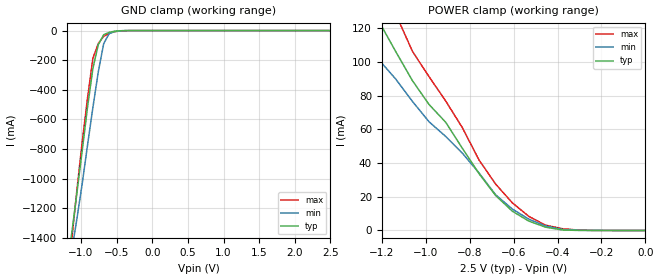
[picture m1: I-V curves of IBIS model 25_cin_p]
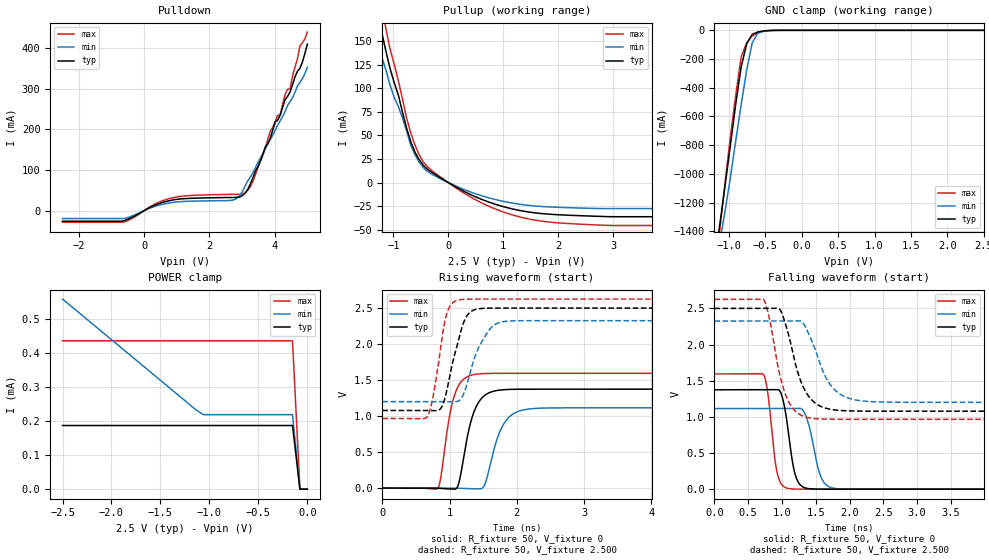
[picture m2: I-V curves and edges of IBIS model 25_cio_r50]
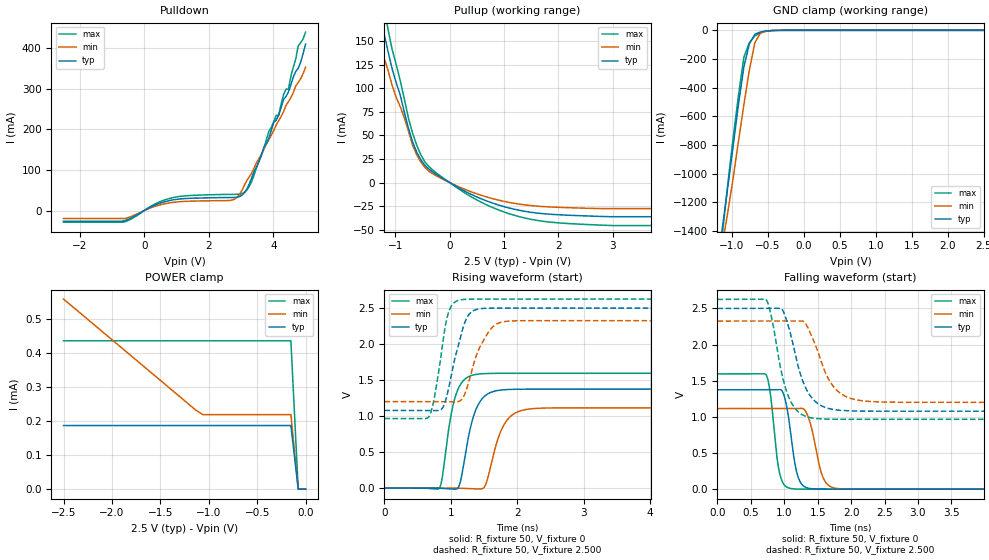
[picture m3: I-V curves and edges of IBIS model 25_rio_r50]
[IBIS Ver]   4.2
[File Name]  frequency_counter_assembly.ibs
[File Rev]   3.0
[Date]   June 15, 2025
[Source]   Altera Corporation
[Notes]   - The models are designated as "Final" and have been correlated against physical device operation.
   - This IBIS model is checked using IBISCHK v5.0.4
   There are no known errors and warnings reported.
   - There are no known limitations for this IBIS model release.
   - Contact point: Altera Corporation, http://www.altera.com/corporate/contact/con-index.html
   - This file is generated using Quartus II Version 24.1std.0 Build 1077 03/04/2025 SC Lite Edition
   - Unused IOs which have been assigned as tri-stated inputs or as outputs driving any signal in Quartus II
   arerepresented by the NC.
   - Only general purpose IBIS models are supported.
   Revision History
   - v1.0
   - Initial release of MAX 10 IBIS models. Models are based on pre-layout and early engineering info.
   - v2.0
   - Models are based on post-layout, may be missing certain features.
   - v3.0
   - Models have undergone final correlation against physical device operation.
[Disclaimer] Data is for modeling purposes only and is not guaranteed.
[Copyright]  Copyright (C) 2025  Altera Corporation. All rights reserved.
[Component]  10M50DAF484C7G_frequency_counter_assembl
[Manufacturer] Altera Corporation
[Package]
| RLC values are for 484 FBGA package
| variable  typ   min   max
R_pkg   551m   176m   873m
L_pkg   4.76nH   1.81nH   7.56nH
C_pkg   1.01pF   0.60pF   1.56pF
[Pin] signal_name   model_name   R_pin   L_pin   C_pin
A1   GND   GND
A10   led_port[2]   25_cio_r50   618.8m   5.890nH   1.083pF
A11   led_port[8]   25_cio_r50   572.3m   5.833nH   1.012pF
A16   status_led[1]   25_cio_r50   551.5m   4.756nH   1.106pF
A19   blinker   25_cio_r50   797.4m   6.594nH   1.419pF
A22   GND   GND
A8   led_port[0]   25_cio_r50   739.8m   7.540nH   1.314pF
A9   led_port[1]   25_cio_r50   635.8m   6.193nH   1.167pF
AA18  GND   GND
AA4   GND   GND
AB1   GND   GND
AB22  GND   GND
AB6   uart_tx_ext   25_cio_r50   667.4m   6.499nH   1.395pF
AB7   measure_signal_i   25_cin_p   615.8m   5.871nH   1.273pF
B10   led_port[3]   25_cio_r50   432.0m   3.866nH   0.928pF
B11   led_port[9]   25_cio_r50   432.2m   4.170nH   0.927pF
B13   GND   GND
B18   GND   GND
B6   GND   GND
B8   rst_ext_unbuffered   25_cin_p   653.9m   5.581nH   1.235pF
B9   GND   GND
C13   led_port[5]   25_cio_r50   376.7m   3.306nH   0.800pF
D11   GND   GND
D13   led_port[4]   25_cio_r50   314.2m   2.794nH   0.627pF
D14   led_port[7]   25_cio_r50   281.2m   2.837nH   0.717pF
D15   status_led[0]   25_cio_r50   274.0m   2.723nH   0.721pF
D16   GND   GND
D20   GND   GND
D22   blinker_2   25_rio_r50   873.7m   7.558nH   1.558pF
D4   GND   GND
E14   led_port[6]   25_cio_r50   236.6m   2.129nH   0.596pF
E2   GND   GND
E7   GND   GND
F10   GND   GND
F11   VCCIO8   POWER
F12   VCCIO7   POWER
F13   GND   GND
F14   VCCIO7   POWER
F9   VCCIO8   POWER
G10   VCCIO8   POWER
G11   VCCIO8   POWER
G12   VCCIO7   POWER
G13   VCCIO7   POWER
G14   VCCIO7   POWER
G15   GND   GND
G16   VCCD_PLL2   POWER
G18   GND   GND
G21   GND   GND
G6   GND   GND
G7   VCCD_PLL3   POWER
G8   GND   GND
H15   VCCA2   POWER
H16   VCCIO6   POWER
H7   VCCA_ADC   POWER
H8   VCCA3   POWER
J16   GND   GND
J17   VCCIO6   POWER
J19   GND   GND
J2   GND   GND
J6   GND   GND
J7   VCCINT   POWER
K10   GND   GND
K11   VCC   POWER
K12   GND   GND
K13   VCC   POWER
K16   VCCIO6   POWER
K17   VCCIO6   POWER
K3   GND   GND
K7   VCCIO1A   POWER
L10   VCC   POWER
L11   VCC   POWER
L12   VCC   POWER
L13   GND   GND
L16   VCCIO6   POWER
L17   GND   GND
L19   blinker_3   25_rio_r50   459.9m   3.942nH   0.878pF
L21   GND   GND
L5   GND   GND
L6   VCCIO1A   POWER
L7   VCCIO1B   POWER
M10   GND   GND
M11   VCC   POWER
M12   VCC   POWER
M13   VCC   POWER
M16   GND   GND
M17   VCCIO6   POWER
M19   GND   GND
M6   VCCIO1B   POWER
M7   GND   GND
N10   VCC   POWER
N11   GND   GND
N12   VCC   POWER
N13   GND   GND
N16   VCCIO5   POWER
N17   VCCIO6   POWER
N6   VCCIO2   POWER
N7   VCCIO2   POWER
P11   clk_i_ext   25_cin_p   176.5m   1.812nH   0.651pF
P16   VCCIO5   POWER
P17   GND   GND
P2   GND   GND
P6   GND   GND
P7   VCCIO2   POWER
R16   VCCIO5   POWER
R17   VCCIO5   POWER
R19   GND   GND
R21   GND   GND
R6   VCCIO2   POWER
R8   VCCA1   POWER
T10   VCCIO3   POWER
T11   VCCIO3   POWER
T12   VCCIO4   POWER
T13   VCCIO4   POWER
T14   GND   GND
T15   VCCA4   POWER
T16   GND   GND
T17   VCCIO5   POWER
T4   GND   GND
T7   VCCD_PLL1   POWER
T8   GND   GND
T9   VCCIO3   POWER
U10   GND   GND
U11   VCCIO4   POWER
U12   VCCIO4   POWER
U13   GND   GND
U14   VCCIO4   POWER
U16   VCCD_PLL4   POWER
U8   VCCIO3   POWER
U9   VCCIO3   POWER
V19   GND   GND
V2   GND   GND
V6   GND   GND
W21   GND   GND
Y12   GND   GND
Y15   GND   GND
Y9   GND   GND
| Models and submodels in the file (3): 25_cin_p (Input), 25_cio_r50 (I/O), 25_rio_r50 (I/O)
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|MODEL 25_cin_p
[Model]   25_cin_p
Model_type   Input
Polarity   Non-Inverting
Vinl   = 0.700
Vinh   = 1.700
C_comp 4.5pF   4.5pF   4.5pF
[Model Spec]
Vinh   1.700   1.700   1.700
Vinl   0.700   0.700   0.700
[Temperature Range]   25   85   0
[Voltage Range]   2.500   2.325   2.625
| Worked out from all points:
|   GND clamp passes 1 mA (typ) near -0.44 V on its own axis
|   POWER clamp passes 1 mA (typ) near -0.41 V on its own axis
[GND Clamp]
| voltage   I (typ)   I (min)   I (max)
-2.5V     -5.91A     -5.381A    -6.902A
-1.136V   -1.393A    -1.507A    -1.443A
-1.061V   -1.109A    -1.281A    -1.09A
-984.9mV  -816.5mA   -1.039A    -759.1mA
-909.1mV  -519.5mA   -775.8mA   -457.9mA
-833.3mV  -255.4mA   -519.5mA   -186.8mA
-757.6mV  -94.85mA   -278.6mA   -87.18mA
-681.8mV  -28.16mA   -88.05mA   -39.36mA
-606.1mV  -11.9mA    -20.93mA   -18.07mA
-530.3mV  -4.732mA   -6.89mA    -7.206mA
-454.6mV  -1.272mA   -1.883mA   -2.74mA
2.5V      0A         0A         0A
[Power Clamp]
| voltage   I (typ)   I (min)   I (max)
-2.5V     371.2mA    295.3mA    435.7mA
-1.364V   145.2mA    122.5mA    171.7mA
-1.212V   123.9mA    101.1mA    146.3mA
-1.136V   106.1mA    89.84mA    128.4mA
-984.9mV  74.76mA    64.5mA     91.27mA
-909.1mV  64.21mA    55.8mA     76.83mA
-757.6mV  33.76mA    34.17mA    41.86mA
-681.8mV  20.76mA    21.17mA    27.52mA
-606.1mV  11.46mA    12.74mA    16.43mA
-530.3mV  5.536mA    6.677mA    8.318mA
-378.8mV  308.8uA    639.7uA    1.08mA
0V        0A         0A         0A
|MODEL 25_cio_r50
[Model]   25_cio_r50
Model_type   I/O
Polarity   Non-Inverting
Enable Active-Low
Vinl   = 0.700
Vinh   = 1.700
Vmeas  = 1.250
Rref   = 10M
Cref   = 0pF
Vref   = 0.000
C_comp 4.5pF   4.5pF   4.5pF
[Model Spec]
Vinh   1.700   1.700   1.700
Vinl   0.700   0.700   0.700
[Temperature Range]   25   85   0
[Voltage Range]   2.500   2.325   2.625
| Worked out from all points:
|   slope of the pulldown table from 0 to 0.375 V, typ, clamps not added: 25.2 ohm
|   slope of the pullup table from 0 to 0.375 V, typ, clamps not added: 31.4 ohm
|   GND clamp passes 1 mA (typ) near -0.44 V on its own axis
|   rising waveform, R_fixture 50, V_fixture 0: 20-80 % time 199ps typ, 228ps min, 173ps max; typ from 0 V to 1.37 V
|   falling waveform, R_fixture 50, V_fixture 0: 20-80 % time 131ps typ, 160ps min, 112ps max; typ from 1.37 V to 0 V
|   rising waveform, R_fixture 50, V_fixture 2.500: 20-80 % time 219ps typ, 268ps min, 165ps max; typ from 1.08 V to 2.5 V
|   falling waveform, R_fixture 50, V_fixture 2.500: 20-80 % time 268ps typ, 312ps min, 229ps max; typ from 2.5 V to 1.08 V
[GND Clamp]
| voltage   I (typ)   I (min)   I (max)
-2.5V     -5.9A      -5.373A    -6.888A
-1.136V   -1.391A    -1.505A    -1.44A
-1.061V   -1.107A    -1.279A    -1.088A
-984.9mV  -815mA     -1.038A    -757.7mA
-909.1mV  -518.6mA   -774.5mA   -457.2mA
-833.3mV  -255mA     -518.7mA   -186.5mA
-757.6mV  -94.81mA   -278.2mA   -87.08mA
-681.8mV  -28.16mA   -88.01mA   -39.35mA
-606.1mV  -11.9mA    -20.93mA   -18.07mA
-530.3mV  -4.732mA   -6.889mA   -7.205mA
-454.6mV  -1.272mA   -1.883mA   -2.74mA
2.5V      0A         0A         0A
[Pulldown]
| voltage   I (typ)   I (min)   I (max)
-2.5V     -26.09mA   -19.42mA   -28.48mA
-606.1mV  -24.68mA   -19.42mA   -27.68mA
833.3mV   25.48mA    19.58mA    30.82mA
2.727V    32.32mA    26.05mA    39.97mA
3.106V    43.99mA    62.78mA    45.13mA
3.333V    81.23mA    93.09mA    72.31mA
3.864V    178.2mA    174.8mA    195.2mA
4.167V    234.9mA    221.1mA    234.5mA
4.318V    273.2mA    243.9mA    285.6mA
4.47V     292mA      268.1mA    298.8mA
4.773V    350.2mA    315.3mA    405.3mA
5V        409.7mA    352.9mA    439.3mA
[Power Clamp]
| voltage   I (typ)   I (min)   I (max)
-2.5V     186.7uA    557.6uA    435.2uA
-1.136V   186.7uA    232.4uA    435.2uA
-1.061V   186.7uA    218.6uA    435.2uA
-151.5mV  186.7uA    218.6uA    435.2uA
-75.76mV  0A         0A         0A
0V        0A         0A         0A
[Pullup]
| voltage   I (typ)   I (min)   I (max)
-2.5V     446.5mA    356mA      511.4mA
-1.439V   205.9mA    172.6mA    236.5mA
-1.212V   159.5mA    133.5mA    188.4mA
-1.136V   139.7mA    119.6mA    163.4mA
-757.6mV  57.5mA     54.44mA    68.13mA
-681.8mV  43.14mA    39.45mA    52.43mA
-530.3mV  24.18mA    21.73mA    29.42mA
-303mV    10.93mA    9.031mA    12.82mA
151.5mV   -5.18mA    -4.063mA   -6.237mA
909.1mV   -24.06mA   -18.81mA   -29.3mA
1.667V    -32.77mA   -25.3mA    -40.74mA
5V        -36.29mA   -27.68mA   -45.66mA
[Ramp]
dV/dt_r   8.247e-01/1.988e-10 6.688e-01/2.280e-10 9.565e-01/1.725e-10
dV/dt_f   8.530e-01/2.682e-10 6.743e-01/3.121e-10 9.953e-01/2.285e-10
R_load = 50ohms
[Rising Waveform]
R_fixture   = 50
V_fixture   = 0
V_fixture_min = 0
V_fixture_max = 0
| time   V (typ)   V (min)   V (max)
0s        48.43nV    749.6nV    73.35nV
825ps     -1.106mV   17.82uV    -3.605mV
873.6ps   -4.294mV   33.16uV    170.2mV
1.005ns   -11.24mV   84.51uV    1.031V
1.116ns   14.76mV    -1.166mV   1.391V
1.345ns   1.01V      -10.08mV   1.573V
1.518ns   1.284V     39.71mV    1.59V
1.81ns    1.366V     895.8mV    1.594V
2.087ns   1.374V     1.083V     1.594V
6.926ns   1.375V     1.115V     1.594V
[Falling Waveform]
R_fixture   = 50
V_fixture   = 0
V_fixture_min = 0
V_fixture_max = 0
| time   V (typ)   V (min)   V (max)
0s        1.375V     1.115V     1.594V
730.7ps   1.375V     1.115V     1.578V
923.8ps   1.377V     1.115V     246.8mV
1.082ns   869.1mV    1.115V     12.16mV
1.172ns   289.1mV    1.115V     2.282mV
1.255ns   75.85mV    1.118V     491.3uV
1.379ns   9.69mV     942.1mV    54.79uV
1.579ns   394.5uV    163.3mV    1.649uV
1.758ns   24.48uV    14.11mV    -82.74nV
6.887ns   868.7nV    417.4nV    -805.4nV
[Rising Waveform]
R_fixture   = 50
V_fixture   = 2.500
V_fixture_min   = 2.325
V_fixture_max   = 2.625
| time   V (typ)   V (min)   V (max)
0s        1.078V     1.201V     966mV
672.5ps   1.077V     1.201V     996.3mV
748.8ps   1.076V     1.201V     1.244V
859.7ps   1.097V     1.201V     1.892V
949.8ps   1.319V     1.2V       2.393V
1.123ns   2.017V     1.206V     2.61V
1.31ns    2.446V     1.615V     2.624V
1.553ns   2.498V     2.147V     2.625V
1.782ns   2.5V       2.309V     2.625V
6.926ns   2.5V       2.325V     2.625V
[Falling Waveform]
R_fixture   = 50
V_fixture   = 2.500
V_fixture_min   = 2.325
V_fixture_max   = 2.625
| time   V (typ)   V (min)   V (max)
0s        2.5V       2.325V     2.625V
730.7ps   2.5V       2.325V     2.618V
813.5ps   2.5V       2.325V     2.357V
958.2ps   2.495V     2.325V     1.614V
1.041ns   2.315V     2.325V     1.335V
1.234ns   1.612V     2.326V     1.05V
1.358ns   1.335V     2.223V     996mV
1.703ns   1.107V     1.46V      967.7mV
2.075ns   1.081V     1.236V     966.1mV
6.887ns   1.078V     1.201V     966mV
|MODEL 25_rio_r50
[Model]   25_rio_r50
Model_type   I/O
Polarity   Non-Inverting
Enable Active-Low
Vinl   = 0.700
Vinh   = 1.700
Vmeas  = 1.250
Rref   = 10M
Cref   = 0pF
Vref   = 0.000
C_comp 4.5pF   4.5pF   4.5pF
[Model Spec]
Vinh   1.700   1.700   1.700
Vinl   0.700   0.700   0.700
[Temperature Range]   25   85   0
[Voltage Range]   2.500   2.325   2.625
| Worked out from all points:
|   slope of the pulldown table from 0 to 0.375 V, typ, clamps not added: 25.2 ohm
|   slope of the pullup table from 0 to 0.375 V, typ, clamps not added: 31.4 ohm
|   GND clamp passes 1 mA (typ) near -0.44 V on its own axis
|   rising waveform, R_fixture 50, V_fixture 0: 20-80 % time 199ps typ, 228ps min, 172ps max; typ from 0 V to 1.37 V
|   falling waveform, R_fixture 50, V_fixture 0: 20-80 % time 131ps typ, 160ps min, 112ps max; typ from 1.37 V to 0 V
|   rising waveform, R_fixture 50, V_fixture 2.500: 20-80 % time 219ps typ, 268ps min, 165ps max; typ from 1.08 V to 2.5 V
|   falling waveform, R_fixture 50, V_fixture 2.500: 20-80 % time 268ps typ, 312ps min, 229ps max; typ from 2.5 V to 1.08 V
[GND Clamp]
| voltage   I (typ)   I (min)   I (max)
-2.5V     -5.91A     -5.381A    -6.902A
-1.136V   -1.393A    -1.507A    -1.443A
-1.061V   -1.109A    -1.281A    -1.09A
-984.9mV  -816.5mA   -1.039A    -759.1mA
-909.1mV  -519.5mA   -775.8mA   -457.9mA
-833.3mV  -255.4mA   -519.5mA   -186.8mA
-757.6mV  -94.85mA   -278.6mA   -87.18mA
-681.8mV  -28.16mA   -88.05mA   -39.36mA
-606.1mV  -11.9mA    -20.93mA   -18.07mA
-530.3mV  -4.732mA   -6.89mA    -7.206mA
-454.6mV  -1.272mA   -1.883mA   -2.74mA
2.5V      0A         0A         0A
[Pulldown]
| voltage   I (typ)   I (min)   I (max)
-2.5V     -26.09mA   -19.43mA   -28.49mA
-606.1mV  -24.69mA   -19.43mA   -27.68mA
833.3mV   25.48mA    19.58mA    30.82mA
2.727V    32.32mA    26.05mA    39.97mA
3.106V    43.99mA    62.78mA    45.13mA
3.333V    81.23mA    93.09mA    72.31mA
3.864V    178.1mA    174.7mA    195.2mA
4.167V    234.9mA    221mA      234.5mA
4.318V    273.2mA    243.9mA    285.5mA
4.47V     292mA      268mA      298.8mA
4.773V    350.2mA    315.2mA    405.3mA
5V        409.7mA    352.9mA    439.3mA
[Power Clamp]
| voltage   I (typ)   I (min)   I (max)
-2.5V     186.7uA    557.6uA    435.2uA
-1.136V   186.7uA    232.4uA    435.2uA
-1.061V   186.7uA    218.6uA    435.2uA
-151.5mV  186.7uA    218.6uA    435.2uA
-75.76mV  0A         0A         0A
0V        0A         0A         0A
[Pullup]
| voltage   I (typ)   I (min)   I (max)
-2.5V     446.5mA    356mA      511.4mA
-1.439V   205.9mA    172.6mA    236.5mA
-1.212V   159.5mA    133.5mA    188.4mA
-1.136V   139.7mA    119.6mA    163.4mA
-757.6mV  57.49mA    54.44mA    68.13mA
-681.8mV  43.14mA    39.45mA    52.43mA
-530.3mV  24.18mA    21.73mA    29.42mA
-303mV    10.93mA    9.031mA    12.82mA
151.5mV   -5.18mA    -4.063mA   -6.237mA
909.1mV   -24.06mA   -18.81mA   -29.3mA
1.667V    -32.77mA   -25.3mA    -40.74mA
5V        -36.29mA   -27.68mA   -45.66mA
[Ramp]
dV/dt_r   8.247e-01/1.987e-10 6.688e-01/2.279e-10 9.565e-01/1.724e-10
dV/dt_f   8.530e-01/2.682e-10 6.743e-01/3.122e-10 9.953e-01/2.285e-10
R_load = 50ohms
[Rising Waveform]
R_fixture   = 50
V_fixture   = 0
V_fixture_min = 0
V_fixture_max = 0
| time   V (typ)   V (min)   V (max)
0s        48.43nV    749.6nV    73.35nV
825ps     -1.107mV   17.82uV    -3.567mV
873.6ps   -4.302mV   33.16uV    170.5mV
1.005ns   -11.26mV   84.51uV    1.031V
1.116ns   14.88mV    -1.167mV   1.391V
1.345ns   1.01V      -10.09mV   1.573V
1.518ns   1.284V     39.9mV     1.59V
1.81ns    1.366V     896.1mV    1.594V
2.108ns   1.374V     1.088V     1.594V
6.926ns   1.375V     1.115V     1.594V
[Falling Waveform]
R_fixture   = 50
V_fixture   = 0
V_fixture_min = 0
V_fixture_max = 0
| time   V (typ)   V (min)   V (max)
0s        1.375V     1.115V     1.594V
730.7ps   1.375V     1.115V     1.578V
923.8ps   1.377V     1.115V     246.6mV
1.075ns   916.2mV    1.115V     13.75mV
1.172ns   288.7mV    1.115V     2.258mV
1.255ns   75.68mV    1.118V     502.6uV
1.379ns   9.757mV    941.7mV    50.5uV
1.579ns   384.3uV    163mV      1.152uV
1.765ns   21.19uV    12.84mV    -30.85nV
6.887ns   1.413uV    1.022uV    -362.1nV
[Rising Waveform]
R_fixture   = 50
V_fixture   = 2.500
V_fixture_min   = 2.325
V_fixture_max   = 2.625
| time   V (typ)   V (min)   V (max)
0s        1.078V     1.201V     966mV
672.5ps   1.077V     1.201V     996.4mV
748.8ps   1.076V     1.201V     1.244V
859.7ps   1.097V     1.201V     1.893V
949.8ps   1.319V     1.2V       2.393V
1.123ns   2.017V     1.206V     2.61V
1.31ns    2.446V     1.615V     2.624V
1.553ns   2.498V     2.148V     2.625V
1.782ns   2.5V       2.309V     2.625V
6.926ns   2.5V       2.325V     2.625V
[Falling Waveform]
R_fixture   = 50
V_fixture   = 2.500
V_fixture_min   = 2.325
V_fixture_max   = 2.625
| time   V (typ)   V (min)   V (max)
0s        2.5V       2.325V     2.625V
730.7ps   2.5V       2.325V     2.618V
813.5ps   2.5V       2.325V     2.356V
958.2ps   2.495V     2.325V     1.614V
1.041ns   2.314V     2.325V     1.335V
1.227ns   1.633V     2.326V     1.055V
1.351ns   1.346V     2.235V     997.8mV
1.703ns   1.107V     1.46V      967.7mV
2.068ns   1.081V     1.238V     966.1mV
6.887ns   1.078V     1.201V     966mV
